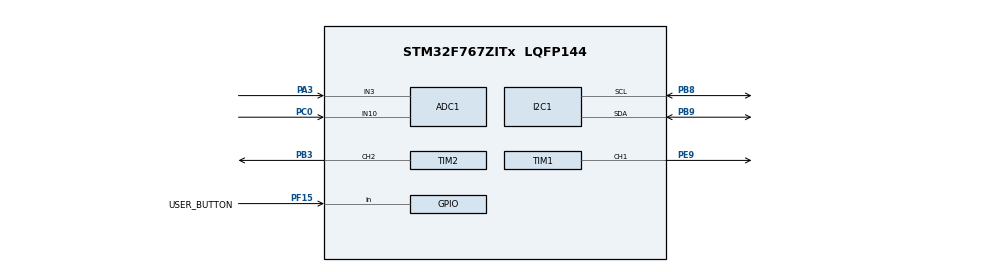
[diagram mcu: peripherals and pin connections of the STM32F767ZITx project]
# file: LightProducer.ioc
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ADC1.Channel-1\#ChannelRegularConversion=ADC_CHANNEL_3
ADC1.ContinuousConvMode=ENABLE
ADC1.NbrOfConversionFlag=1
ADC1.Rank-1\#ChannelRegularConversion=1
ADC1.SamplingTime-1\#ChannelRegularConversion=ADC_SAMPLETIME_3CYCLES
ADC1.master=1
CORTEX_M7.default_mode_Activation=1
FREERTOS.Mutexes01=myDataMutex,Dynamic,NULL,Available
FREERTOS.Tasks01=defaultTask,24,256,StartDefaultTask,Default,NULL,Dynamic,NULL,NULL;ControlTask,40,256,StartControlTask,Default,NULL,Dynamic,NULL,NULL;DisplayTask,16,512,StartDisplayTask,Default,NULL,Dynamic,NULL,NULL;ButtonTask,24,256,StartButtonTask,Default,NULL,Dynamic,NULL,NULL
FREERTOS.configUSE_NEWLIB_REENTRANT=1
Mcu.Family=STM32F7
Mcu.Name=STM32F767ZITx
Mcu.Package=LQFP144
NVIC.PriorityGroup=NVIC_PRIORITYGROUP_4
NVIC.TIM6_DAC_IRQn=true\:15\:0\:false\:false\:true\:false\:false\:true\:true
NVIC.TimeBase=TIM6_DAC_IRQn
NVIC.TimeBaseIP=TIM6
PA3.Signal=ADCx_IN3
PB3.Signal=S_TIM2_CH2
PB8.Mode=I2C
PB8.Signal=I2C1_SCL
PB9.Mode=I2C
PB9.Signal=I2C1_SDA
PC0.Signal=ADCx_IN10
PE9.Signal=S_TIM1_CH1
PF15.GPIO_Label=USER_BUTTON
PF15.Signal=GPIO_Input
ProjectManager.HeapSize=0x200
ProjectManager.StackSize=0x400
ProjectManager.TargetToolchain=STM32CubeIDE
RCC.HSE_VALUE=25000000
RCC.HSI_VALUE=16000000
RCC.LSE_VALUE=32768
RCC.USBFreq_Value=96000000
RCC.VCOOutputFreq_Value=192000000
SH.ADCx_IN10.0=ADC1_IN10,IN10
SH.ADCx_IN3.0=ADC1_IN3,IN3
SH.S_TIM1_CH1.0=TIM1_CH1,PWM Generation1 CH1
SH.S_TIM2_CH2.0=TIM2_CH2,PWM Generation2 CH2
TIM1.Channel-PWM\ Generation1\ CH1=TIM_CHANNEL_1
TIM1.Period=1000-1
TIM1.Prescaler=96-1
TIM2.Channel-PWM\ Generation2\ CH2=TIM_CHANNEL_2
TIM2.Prescaler=96-1
VP_FREERTOS_VS_CMSIS_V2.Mode=CMSIS_V2
VP_SYS_VS_tim6.Mode=TIM6
VP_TIM1_VS_ClockSourceINT.Mode=Internal
VP_TIM2_VS_ClockSourceINT.Mode=Internal
board=custom

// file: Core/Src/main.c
/* USER CODE BEGIN Header */
/**
  ******************************************************************************
  * @file           : main.c
  * @brief          : Main program body
  ******************************************************************************
  * @attention
  *
  * Copyright (c) 2025 STMicroelectronics.
  * All rights reserved.
  *
  * This software is licensed under terms that can be found in the LICENSE file
  * in the root directory of this software component.
  * If no LICENSE file comes with this software, it is provided AS-IS.
  *
  ******************************************************************************
  */
/* USER CODE END Header */
#include "main.h"
#include "cmsis_os.h"

/* USER CODE BEGIN Includes */
#include <stdio.h>
#include <string.h>
#include "i2c-lcd.h"
/* USER CODE END Includes */

ADC_HandleTypeDef hadc1;

I2C_HandleTypeDef hi2c1;

TIM_HandleTypeDef htim1;
TIM_HandleTypeDef htim2;

/* Definitions for defaultTask */
osThreadId_t defaultTaskHandle;
const osThreadAttr_t defaultTask_attributes = {
  .name = "defaultTask",
  .stack_size = 256 * 4,
  .priority = (osPriority_t) osPriorityNormal,
};
/* Definitions for ControlTask */
osThreadId_t ControlTaskHandle;
const osThreadAttr_t ControlTask_attributes = {
  .name = "ControlTask",
  .stack_size = 256 * 4,
  .priority = (osPriority_t) osPriorityHigh,
};
/* Definitions for DisplayTask */
osThreadId_t DisplayTaskHandle;
const osThreadAttr_t DisplayTask_attributes = {
  .name = "DisplayTask",
  .stack_size = 512 * 4,
  .priority = (osPriority_t) osPriorityBelowNormal,
};
/* Definitions for ButtonTask */
osThreadId_t ButtonTaskHandle;
const osThreadAttr_t ButtonTask_attributes = {
  .name = "ButtonTask",
  .stack_size = 256 * 4,
  .priority = (osPriority_t) osPriorityNormal,
};
/* Definitions for myDataMutex */
osMutexId_t myDataMutexHandle;
const osMutexAttr_t myDataMutex_attributes = {
  .name = "myDataMutex"
};
/* USER CODE BEGIN PV */
volatile float global_LDR_Percent = 0.0f;
volatile float global_Pot_Percent = 0.0f;
volatile float global_LED_Compensated = 0.0f;
volatile float global_Average_LDR = 0.0f;

extern ADC_HandleTypeDef hadc1;
extern TIM_HandleTypeDef htim1;
extern TIM_HandleTypeDef htim2;
/* USER CODE END PV */

void SystemClock_Config(void);
static void MPU_Config(void);
static void MX_GPIO_Init(void);
static void MX_ADC1_Init(void);
static void MX_TIM1_Init(void);
static void MX_TIM2_Init(void);
static void MX_I2C1_Init(void);
void StartDefaultTask(void *argument);
void StartControlTask(void *argument);
void StartDisplayTask(void *argument);
void StartButtonTask(void *argument);

/* USER CODE BEGIN 0 */
uint32_t Read_ADC_Channel(uint32_t Channel) {
    ADC_ChannelConfTypeDef sConfig = {0};

    sConfig.Channel = Channel;
    sConfig.Rank = ADC_REGULAR_RANK_1;
    sConfig.SamplingTime = ADC_SAMPLETIME_15CYCLES; // Fast sample

    if (HAL_ADC_ConfigChannel(&hadc1, &sConfig) != HAL_OK) {
        Error_Handler();
    }

    HAL_ADC_Start(&hadc1);
    HAL_ADC_PollForConversion(&hadc1, 10);
    uint32_t val = HAL_ADC_GetValue(&hadc1);
    HAL_ADC_Stop(&hadc1);

    return val;
}

// Helper to map 0-4095 to 0-100%
float ADC_to_Percent(uint32_t raw) {
    return (raw / 4095.0f) * 100.0f;
}
/* USER CODE END 0 */

int main(void)
{

  /* MPU Configuration--------------------------------------------------------*/
  MPU_Config();

  /* MCU Configuration--------------------------------------------------------*/

  /* Reset of all peripherals, Initializes the Flash interface and the Systick. */
  HAL_Init();

  /* Configure the system clock */
  SystemClock_Config();

  /* Initialize all configured peripherals */
  MX_GPIO_Init();
  MX_ADC1_Init();
  MX_TIM1_Init();
  MX_TIM2_Init();
  MX_I2C1_Init();
  /* USER CODE BEGIN 2 */
  // 1. Start PWM for LED (TIM2 Channel 2 -> PB3/D3)
  HAL_TIM_PWM_Start(&htim2, TIM_CHANNEL_2);

  // 2. Start PWM for Buzzer (TIM1 Channel 1 -> PE9/D6)
  HAL_TIM_PWM_Start(&htim1, TIM_CHANNEL_1);

  // 3. Calibrate ADC (Good practice)
  //HAL_ADCEx_Calibration_Start(&hadc1);

  // --- I2C SCANNER START ---
    // This will try every address from 0 to 127 to see if anything answers.
    volatile uint8_t found_addr = 0;
    volatile HAL_StatusTypeDef res;

    for(uint16_t i = 0; i < 128; i++) {
        // Shift address left by 1 because HAL expects 8-bit, not 7-bit
        res = HAL_I2C_IsDeviceReady(&hi2c1, (uint16_t)(i << 1), 1, 10);

        if(res == HAL_OK) {
            found_addr = i; // <--- PUT A BREAKPOINT HERE
        }
    }
    // --- I2C SCANNER END ---

  // 4. Initialize LCD
  LCD_Init();
    LCD_SetRGB(0, 255, 0); // Set Backlight to Bright Green!
    LCD_SetCursor(0,0);
    LCD_SendString("System Ready!");
    HAL_Delay(1000);
    LCD_Clear();
  /* USER CODE END 2 */

  /* Init scheduler */
  osKernelInitialize();
  /* Create the mutex(es) */
  /* creation of myDataMutex */
  myDataMutexHandle = osMutexNew(&myDataMutex_attributes);

  /* Create the thread(s) */
  /* creation of defaultTask */
  defaultTaskHandle = osThreadNew(StartDefaultTask, NULL, &defaultTask_attributes);

  /* creation of ControlTask */
  ControlTaskHandle = osThreadNew(StartControlTask, NULL, &ControlTask_attributes);

  /* creation of DisplayTask */
  DisplayTaskHandle = osThreadNew(StartDisplayTask, NULL, &DisplayTask_attributes);

  /* creation of ButtonTask */
  ButtonTaskHandle = osThreadNew(StartButtonTask, NULL, &ButtonTask_attributes);

  /* Start scheduler */
  osKernelStart();

  /* We should never get here as control is now taken by the scheduler */

  /* Infinite loop */
  while (1)
  {

  }
}

void SystemClock_Config(void)
{
  RCC_OscInitTypeDef RCC_OscInitStruct = {0};
  RCC_ClkInitTypeDef RCC_ClkInitStruct = {0};

  /** Configure the main internal regulator output voltage
  */
  __HAL_RCC_PWR_CLK_ENABLE();
  __HAL_PWR_VOLTAGESCALING_CONFIG(PWR_REGULATOR_VOLTAGE_SCALE3);

  /** Initializes the RCC Oscillators according to the specified parameters
  * in the RCC_OscInitTypeDef structure.
  */
  RCC_OscInitStruct.OscillatorType = RCC_OSCILLATORTYPE_HSI;
  RCC_OscInitStruct.HSIState = RCC_HSI_ON;
  RCC_OscInitStruct.HSICalibrationValue = RCC_HSICALIBRATION_DEFAULT;
  RCC_OscInitStruct.PLL.PLLState = RCC_PLL_NONE;
  if (HAL_RCC_OscConfig(&RCC_OscInitStruct) != HAL_OK)
  {
    Error_Handler();
  }

  /** Initializes the CPU, AHB and APB buses clocks
  */
  RCC_ClkInitStruct.ClockType = RCC_CLOCKTYPE_HCLK|RCC_CLOCKTYPE_SYSCLK
                              |RCC_CLOCKTYPE_PCLK1|RCC_CLOCKTYPE_PCLK2;
  RCC_ClkInitStruct.SYSCLKSource = RCC_SYSCLKSOURCE_HSI;
  RCC_ClkInitStruct.AHBCLKDivider = RCC_SYSCLK_DIV1;
  RCC_ClkInitStruct.APB1CLKDivider = RCC_HCLK_DIV1;
  RCC_ClkInitStruct.APB2CLKDivider = RCC_HCLK_DIV1;

  if (HAL_RCC_ClockConfig(&RCC_ClkInitStruct, FLASH_LATENCY_0) != HAL_OK)
  {
    Error_Handler();
  }
}

static void MX_ADC1_Init(void)
{

  ADC_ChannelConfTypeDef sConfig = {0};

  /** Configure the global features of the ADC (Clock, Resolution, Data Alignment and number of conversion)
  */
  hadc1.Instance = ADC1;
  hadc1.Init.ClockPrescaler = ADC_CLOCK_SYNC_PCLK_DIV2;
  hadc1.Init.Resolution = ADC_RESOLUTION_12B;
  hadc1.Init.ScanConvMode = ADC_SCAN_DISABLE;
  hadc1.Init.ContinuousConvMode = ENABLE;
  hadc1.Init.DiscontinuousConvMode = DISABLE;
  hadc1.Init.ExternalTrigConvEdge = ADC_EXTERNALTRIGCONVEDGE_NONE;
  hadc1.Init.ExternalTrigConv = ADC_SOFTWARE_START;
  hadc1.Init.DataAlign = ADC_DATAALIGN_RIGHT;
  hadc1.Init.NbrOfConversion = 1;
  hadc1.Init.DMAContinuousRequests = DISABLE;
  hadc1.Init.EOCSelection = ADC_EOC_SINGLE_CONV;
  if (HAL_ADC_Init(&hadc1) != HAL_OK)
  {
    Error_Handler();
  }

  /** Configure for the selected ADC regular channel its corresponding rank in the sequencer and its sample time.
  */
  sConfig.Channel = ADC_CHANNEL_3;
  sConfig.Rank = ADC_REGULAR_RANK_1;
  sConfig.SamplingTime = ADC_SAMPLETIME_3CYCLES;
  if (HAL_ADC_ConfigChannel(&hadc1, &sConfig) != HAL_OK)
  {
    Error_Handler();
  }

}

static void MX_I2C1_Init(void)
{

  hi2c1.Instance = I2C1;
  hi2c1.Init.Timing = 0x00303D5B;
  hi2c1.Init.OwnAddress1 = 0;
  hi2c1.Init.AddressingMode = I2C_ADDRESSINGMODE_7BIT;
  hi2c1.Init.DualAddressMode = I2C_DUALADDRESS_DISABLE;
  hi2c1.Init.OwnAddress2 = 0;
  hi2c1.Init.OwnAddress2Masks = I2C_OA2_NOMASK;
  hi2c1.Init.GeneralCallMode = I2C_GENERALCALL_DISABLE;
  hi2c1.Init.NoStretchMode = I2C_NOSTRETCH_DISABLE;
  if (HAL_I2C_Init(&hi2c1) != HAL_OK)
  {
    Error_Handler();
  }

  /** Configure Analogue filter
  */
  if (HAL_I2CEx_ConfigAnalogFilter(&hi2c1, I2C_ANALOGFILTER_ENABLE) != HAL_OK)
  {
    Error_Handler();
  }

  /** Configure Digital filter
  */
  if (HAL_I2CEx_ConfigDigitalFilter(&hi2c1, 0) != HAL_OK)
  {
    Error_Handler();
  }

}

static void MX_TIM1_Init(void)
{

  TIM_ClockConfigTypeDef sClockSourceConfig = {0};
  TIM_MasterConfigTypeDef sMasterConfig = {0};
  TIM_OC_InitTypeDef sConfigOC = {0};
  TIM_BreakDeadTimeConfigTypeDef sBreakDeadTimeConfig = {0};

  htim1.Instance = TIM1;
  htim1.Init.Prescaler = 96-1;
  htim1.Init.CounterMode = TIM_COUNTERMODE_UP;
  htim1.Init.Period = 1000-1;
  htim1.Init.ClockDivision = TIM_CLOCKDIVISION_DIV1;
  htim1.Init.RepetitionCounter = 0;
  htim1.Init.AutoReloadPreload = TIM_AUTORELOAD_PRELOAD_DISABLE;
  if (HAL_TIM_Base_Init(&htim1) != HAL_OK)
  {
    Error_Handler();
  }
  sClockSourceConfig.ClockSource = TIM_CLOCKSOURCE_INTERNAL;
  if (HAL_TIM_ConfigClockSource(&htim1, &sClockSourceConfig) != HAL_OK)
  {
    Error_Handler();
  }
  if (HAL_TIM_PWM_Init(&htim1) != HAL_OK)
  {
    Error_Handler();
  }
  sMasterConfig.MasterOutputTrigger = TIM_TRGO_RESET;
  sMasterConfig.MasterOutputTrigger2 = TIM_TRGO2_RESET;
  sMasterConfig.MasterSlaveMode = TIM_MASTERSLAVEMODE_DISABLE;
  if (HAL_TIMEx_MasterConfigSynchronization(&htim1, &sMasterConfig) != HAL_OK)
  {
    Error_Handler();
  }
  sConfigOC.OCMode = TIM_OCMODE_PWM1;
  sConfigOC.Pulse = 0;
  sConfigOC.OCPolarity = TIM_OCPOLARITY_HIGH;
  sConfigOC.OCNPolarity = TIM_OCNPOLARITY_HIGH;
  sConfigOC.OCFastMode = TIM_OCFAST_DISABLE;
  sConfigOC.OCIdleState = TIM_OCIDLESTATE_RESET;
  sConfigOC.OCNIdleState = TIM_OCNIDLESTATE_RESET;
  if (HAL_TIM_PWM_ConfigChannel(&htim1, &sConfigOC, TIM_CHANNEL_1) != HAL_OK)
  {
    Error_Handler();
  }
  sBreakDeadTimeConfig.OffStateRunMode = TIM_OSSR_DISABLE;
  sBreakDeadTimeConfig.OffStateIDLEMode = TIM_OSSI_DISABLE;
  sBreakDeadTimeConfig.LockLevel = TIM_LOCKLEVEL_OFF;
  sBreakDeadTimeConfig.DeadTime = 0;
  sBreakDeadTimeConfig.BreakState = TIM_BREAK_DISABLE;
  sBreakDeadTimeConfig.BreakPolarity = TIM_BREAKPOLARITY_HIGH;
  sBreakDeadTimeConfig.BreakFilter = 0;
  sBreakDeadTimeConfig.Break2State = TIM_BREAK2_DISABLE;
  sBreakDeadTimeConfig.Break2Polarity = TIM_BREAK2POLARITY_HIGH;
  sBreakDeadTimeConfig.Break2Filter = 0;
  sBreakDeadTimeConfig.AutomaticOutput = TIM_AUTOMATICOUTPUT_DISABLE;
  if (HAL_TIMEx_ConfigBreakDeadTime(&htim1, &sBreakDeadTimeConfig) != HAL_OK)
  {
    Error_Handler();
  }
  HAL_TIM_MspPostInit(&htim1);

}

static void MX_TIM2_Init(void)
{

  TIM_ClockConfigTypeDef sClockSourceConfig = {0};
  TIM_MasterConfigTypeDef sMasterConfig = {0};
  TIM_OC_InitTypeDef sConfigOC = {0};

  htim2.Instance = TIM2;
  htim2.Init.Prescaler = 96-1;
  htim2.Init.CounterMode = TIM_COUNTERMODE_UP;
  htim2.Init.Period = 4294967295;
  htim2.Init.ClockDivision = TIM_CLOCKDIVISION_DIV1;
  htim2.Init.AutoReloadPreload = TIM_AUTORELOAD_PRELOAD_DISABLE;
  if (HAL_TIM_Base_Init(&htim2) != HAL_OK)
  {
    Error_Handler();
  }
  sClockSourceConfig.ClockSource = TIM_CLOCKSOURCE_INTERNAL;
  if (HAL_TIM_ConfigClockSource(&htim2, &sClockSourceConfig) != HAL_OK)
  {
    Error_Handler();
  }
  if (HAL_TIM_PWM_Init(&htim2) != HAL_OK)
  {
    Error_Handler();
  }
  sMasterConfig.MasterOutputTrigger = TIM_TRGO_RESET;
  sMasterConfig.MasterSlaveMode = TIM_MASTERSLAVEMODE_DISABLE;
  if (HAL_TIMEx_MasterConfigSynchronization(&htim2, &sMasterConfig) != HAL_OK)
  {
    Error_Handler();
  }
  sConfigOC.OCMode = TIM_OCMODE_PWM1;
  sConfigOC.Pulse = 0;
  sConfigOC.OCPolarity = TIM_OCPOLARITY_HIGH;
  sConfigOC.OCFastMode = TIM_OCFAST_DISABLE;
  if (HAL_TIM_PWM_ConfigChannel(&htim2, &sConfigOC, TIM_CHANNEL_2) != HAL_OK)
  {
    Error_Handler();
  }
  HAL_TIM_MspPostInit(&htim2);

}

static void MX_GPIO_Init(void)
{
  GPIO_InitTypeDef GPIO_InitStruct = {0};

  /* GPIO Ports Clock Enable */
  __HAL_RCC_GPIOC_CLK_ENABLE();
  __HAL_RCC_GPIOA_CLK_ENABLE();
  __HAL_RCC_GPIOF_CLK_ENABLE();
  __HAL_RCC_GPIOE_CLK_ENABLE();
  __HAL_RCC_GPIOB_CLK_ENABLE();

  /*Configure GPIO pin : USER_BUTTON_Pin */
  GPIO_InitStruct.Pin = USER_BUTTON_Pin;
  GPIO_InitStruct.Mode = GPIO_MODE_INPUT;
  GPIO_InitStruct.Pull = GPIO_NOPULL;
  HAL_GPIO_Init(USER_BUTTON_GPIO_Port, &GPIO_InitStruct);

}

void StartDefaultTask(void *argument)
{
  for(;;)
  {
    osDelay(1);
  }
}

void StartControlTask(void *argument)
{
  /* USER CODE BEGIN StartControlTask */
  /* Infinite loop */
	{
		  for(;;)
		    {
		      // 1. Read Sensors (Using your specific Pins)
		      // Potentiometer is on PA3 -> ADC_CHANNEL_3
		      uint32_t pot_raw = Read_ADC_Channel(ADC_CHANNEL_3);

		      // LDR is on PC0 -> ADC_CHANNEL_10
		      uint32_t ldr_raw = Read_ADC_Channel(ADC_CHANNEL_10);

		      float current_pot = ADC_to_Percent(pot_raw);
		      float current_ldr = ADC_to_Percent(ldr_raw);

		      // 2. Calculate Logic
		      float pwm_required = 0.0f;

		      // If Target (Pot) > Current (LDR), we need to turn on the LED
		      if (current_pot > current_ldr) {
		          pwm_required = current_pot - current_ldr;
		      } else {
		          pwm_required = 0;
		      }

		      // 3. Update Shared Globals (Mutex Protected)
		      // Note: Replace 'myDataMutexHandle' with whatever you named your Mutex in the IOC
		      if (osMutexAcquire(myDataMutexHandle, 10) == osOK) {
		          global_Pot_Percent = current_pot;
		          global_LDR_Percent = current_ldr;
		          global_LED_Compensated = pwm_required;
		          osMutexRelease(myDataMutexHandle);
		      }

		      // 4. Update Hardware (LED on TIM2 CH2)
		      // Scale 0-100% to your Timer Period (Assuming 1000)
		      int pwm_val = (int)(pwm_required * 10.0f);
		      __HAL_TIM_SET_COMPARE(&htim2, TIM_CHANNEL_2, pwm_val);

		      // 5. Sleep for 50ms (Runs twice as fast as the 100ms deadline)
		      osDelay(50);
		    }
	  }
  /* USER CODE END StartControlTask */
}

void StartDisplayTask(void *argument)
{
  /* USER CODE BEGIN StartDisplayTask */
	    char buffer[16];
	    float local_ldr = 0;
	    float local_led = 0;

	    for(;;)
	    {
	      // 1. Read Globals safely
	      if (osMutexAcquire(myDataMutexHandle, 10) == osOK) {
	          local_ldr = global_LDR_Percent;
	          local_led = global_LED_Compensated;
	          osMutexRelease(myDataMutexHandle);
	      }

	      // 2. Format Strings
	      // Note: This requires the "Float with printf" setting we just enabled!
	      // Line 1: LDR
	       LCD_SetCursor(0, 0);
	       sprintf(buffer, "LDR: %.1f %%", local_ldr);
	       LCD_SendString(buffer);

	      // Line 2: LED
	       LCD_SetCursor(1, 0);
	       sprintf(buffer, "LED: %.1f %%", local_led);
	       LCD_SendString(buffer);

	      osDelay(500); // Update every half second
	    }
  /* USER CODE END StartDisplayTask */
}

void StartButtonTask(void *argument)
{
  /* USER CODE BEGIN StartButtonTask */
	LCD_SetRGB(255, 255, 255);

	  for(;;)
	  {
	    // Check Button (PF15) - Active High
	    if (HAL_GPIO_ReadPin(GPIOF, GPIO_PIN_15) == GPIO_PIN_SET)
	    {
	        // 1. STOP the DisplayTask so it doesn't overwrite our message
	        osThreadSuspend(DisplayTaskHandle);

	        // 2. Feedback: Turn Screen RED (Busy) & Clear
	        LCD_SetRGB(255, 0, 0);
	        LCD_Clear();
	        LCD_SetCursor(0, 0);
	        LCD_SendString("Calculating...");

	        float sum = 0;
	        char status_msg[16];

	        // 3. Collect 10 samples over 10 seconds
	        for(int i=0; i<10; i++) {
	            // Get data safely
	            if (osMutexAcquire(myDataMutexHandle, 100) == osOK) {
	                sum += global_LDR_Percent;
	                osMutexRelease(myDataMutexHandle);
	            }

	            // Show countdown
	            sprintf(status_msg, "Wait: %d s...", (10-i));
	            LCD_SetCursor(1, 0);
	            LCD_SendString(status_msg);

	            // BEEP! (Feedback)
	            __HAL_TIM_SET_COMPARE(&htim1, TIM_CHANNEL_1, 500); // Volume 50%
	            osDelay(50); // Short beep
	            __HAL_TIM_SET_COMPARE(&htim1, TIM_CHANNEL_1, 0);   // Silence

	            // Wait ~1 second (minus the beep time)
	            osDelay(950);
	        }

	        // 4. Calculate Average
	        global_Average_LDR = sum / 10.0f;

	        // 5. Show Result: Turn Screen GREEN (Success)
	        LCD_SetRGB(0, 255, 0);
	        LCD_Clear();

	        LCD_SetCursor(0, 0);
	        LCD_SendString("Avg (10s):");

	        sprintf(status_msg, "%.1f %%", global_Average_LDR);
	        LCD_SetCursor(1, 0);
	        LCD_SendString(status_msg);

	        // Keep the result on screen for 5 seconds
	        osDelay(5000);

	        // 6. Resume normal DisplayTask and White Backlight
	        LCD_Clear();
	        LCD_SetRGB(255, 255, 255); // Reset to White
	        osThreadResume(DisplayTaskHandle);
	    }

	    osDelay(100); // Check button 10 times a second
	  }
  /* USER CODE END StartButtonTask */
}

 /* MPU Configuration */

void MPU_Config(void)
{
  MPU_Region_InitTypeDef MPU_InitStruct = {0};

  /* Disables the MPU */
  HAL_MPU_Disable();

  /** Initializes and configures the Region and the memory to be protected
  */
  MPU_InitStruct.Enable = MPU_REGION_ENABLE;
  MPU_InitStruct.Number = MPU_REGION_NUMBER0;
  MPU_InitStruct.BaseAddress = 0x0;
  MPU_InitStruct.Size = MPU_REGION_SIZE_4GB;
  MPU_InitStruct.SubRegionDisable = 0x87;
  MPU_InitStruct.TypeExtField = MPU_TEX_LEVEL0;
  MPU_InitStruct.AccessPermission = MPU_REGION_NO_ACCESS;
  MPU_InitStruct.DisableExec = MPU_INSTRUCTION_ACCESS_DISABLE;
  MPU_InitStruct.IsShareable = MPU_ACCESS_SHAREABLE;
  MPU_InitStruct.IsCacheable = MPU_ACCESS_NOT_CACHEABLE;
  MPU_InitStruct.IsBufferable = MPU_ACCESS_NOT_BUFFERABLE;

  HAL_MPU_ConfigRegion(&MPU_InitStruct);
  /* Enables the MPU */
  HAL_MPU_Enable(MPU_PRIVILEGED_DEFAULT);

}

void HAL_TIM_PeriodElapsedCallback(TIM_HandleTypeDef *htim)
{
  if (htim->Instance == TIM6)
  {
    HAL_IncTick();
  }
}

void Error_Handler(void)
{
  __disable_irq();
  while (1)
  {
  }
}
